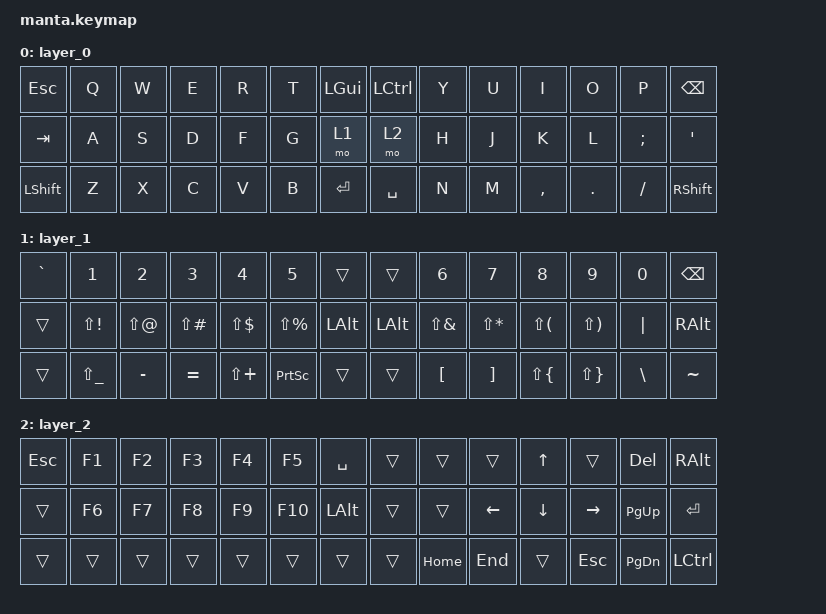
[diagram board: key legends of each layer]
#include <behaviors.dtsi>
#include <dt-bindings/zmk/bt.h>
#include <dt-bindings/zmk/keys.h>

/ {
    combos {
        compatible = "zmk,combos";

        l1-alt {
            bindings = <&kp LEFT_ALT>;
            key-positions = <7 6>;
        };

        clear_bt {
            bindings = <&bt BT_CLR>;
            key-positions = <28 41 0>;
        };

        bt_primary {
            bindings = <&bt BT_SEL 0>;
            key-positions = <28 41 1>;
        };

        bt_secondary {
            bindings = <&bt BT_SEL 1>;
            key-positions = <2 28 41>;
        };

        bt_tertiary {
            bindings = <&bt BT_SEL 2>;
            key-positions = <28 41 3>;
        };

        bt_temporary {
            bindings = <&bt BT_SEL 3>;
            key-positions = <28 41 4>;
        };
    };

    keymap {
        compatible = "zmk,keymap";

        layer_0 {
            bindings = <
&kp ESC    &kp Q  &kp W  &kp E  &kp R  &kp T  &kp LGUI     &kp LCTRL  &kp Y  &kp U  &kp I      &kp O    &kp P     &kp BSPC
&kp TAB    &kp A  &kp S  &kp D  &kp F  &kp G  &mo 1        &mo 2      &kp H  &kp J  &kp K      &kp L    &kp SEMI  &kp SQT
&kp LSHFT  &kp Z  &kp X  &kp C  &kp V  &kp B  &kp ENTER    &kp SPACE  &kp N  &kp M  &kp COMMA  &kp DOT  &kp FSLH  &kp RSHFT
            >;
        };

        layer_1 {
            bindings = <
&kp GRAVE  &kp N1         &kp N2      &kp N3         &kp N4        &kp N5           &trans      &trans    &kp N6        &kp N7        &kp N8        &kp N9        &kp N0    &kp BSPC
&trans     &kp LS(EXCL)   &kp LS(AT)  &kp LS(POUND)  &kp LS(DLLR)  &kp LS(PRCNT)    &kp LALT    &kp LALT  &kp LS(AMPS)  &kp LS(STAR)  &kp LS(LPAR)  &kp LS(RPAR)  &kp PIPE  &kp RALT
&trans     &kp LS(UNDER)  &kp MINUS   &kp EQUAL      &kp LS(PLUS)  &kp PRINTSCREEN  &trans      &trans    &kp LBKT      &kp RBKT      &kp LS(LBRC)  &kp LS(RBRC)  &kp BSLH  &kp TILDE
            >;
        };

        layer_2 {
            bindings = <
&kp ESC  &kp F1  &kp F2  &kp F3  &kp F4  &kp F5   &kp SPACE    &trans  &trans    &trans    &kp UP    &trans     &kp DEL    &kp RALT
&trans   &kp F6  &kp F7  &kp F8  &kp F9  &kp F10  &kp LALT     &trans  &trans    &kp LEFT  &kp DOWN  &kp RIGHT  &kp PG_UP  &kp RET
&trans   &trans  &trans  &trans  &trans  &trans   &trans       &trans  &kp HOME  &kp END   &trans    &kp ESC    &kp PG_DN  &kp LCTRL
            >;
        };
    };
};
